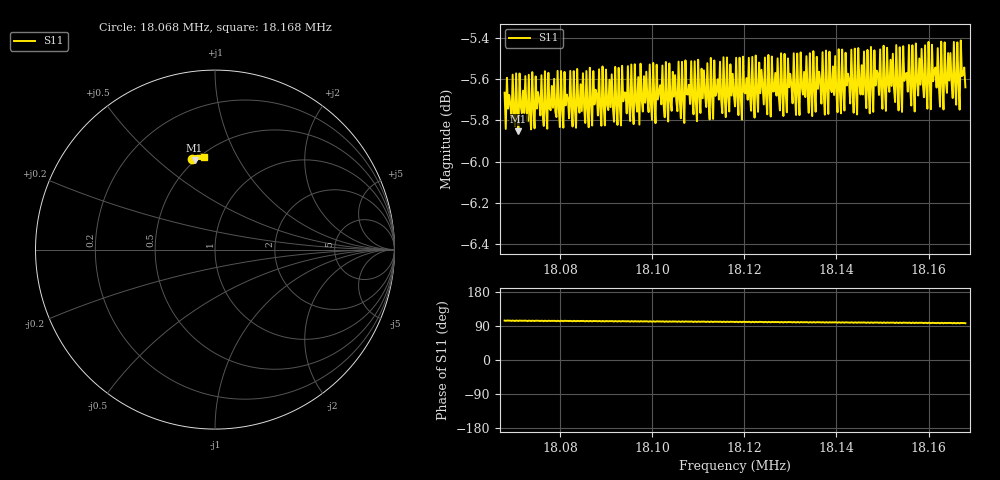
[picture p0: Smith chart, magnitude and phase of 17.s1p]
# Hz S RI R 50
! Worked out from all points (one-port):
!   401 points, 18.068 MHz to 18.168 MHz, reference 50 ohm
!   lowest |S11| = -5.9 dB at 18.071 MHz (marker M1), VSWR 3.08, Z = 24.9 + j33.4 ohm
!   |S11| at or under -10 dB: nowhere
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1.8068e7  -0.1263 0.5053
1.80705e7  -0.1282 0.5107
1.8071e7  -0.1138 0.4968
1.807325e7  -0.1266 0.5107
1.80805e7  -0.1173 0.5025
1.8093e7  -0.1111 0.5051
1.81055e7  -0.0957 0.5065
1.8118e7  -0.0893 0.5091
1.81305e7  -0.0832 0.511
1.813425e7  -0.0915 0.5246
1.81355e7  -0.0797 0.5091
1.813775e7  -0.0906 0.5255
1.813825e7  -0.0765 0.509
1.81405e7  -0.0889 0.5262
1.8143e7  -0.0769 0.512
1.814675e7  -0.0844 0.5268
1.814725e7  -0.0709 0.51
1.81475e7  -0.0848 0.5276
1.8148e7  -0.0715 0.5103
1.815025e7  -0.0834 0.5282
1.81535e7  -0.0678 0.5113
1.815375e7  -0.0809 0.5281
1.81555e7  -0.0705 0.5164
1.81565e7  -0.079 0.529
1.816125e7  -0.0718 0.5224
1.816275e7  -0.076 0.5306
1.8164e7  -0.066 0.5166
1.8168e7  -0.0635 0.5186
